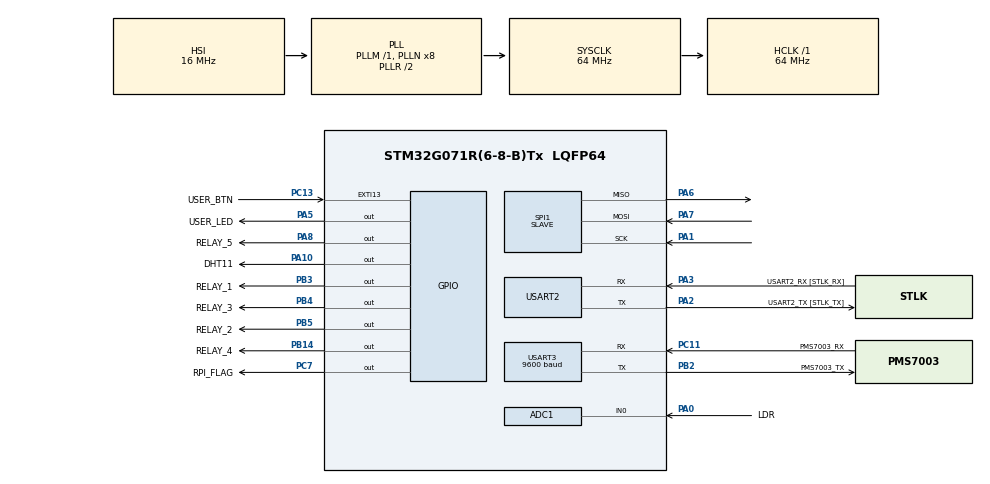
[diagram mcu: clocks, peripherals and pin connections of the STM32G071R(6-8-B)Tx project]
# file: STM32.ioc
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ADC1.Channel-1\#ChannelRegularConversion=ADC_CHANNEL_0
ADC1.ClockPrescaler=ADC_CLOCK_SYNC_PCLK_DIV2
ADC1.ContinuousConvMode=ENABLE
ADC1.DMAContinuousRequests=DISABLE
ADC1.NbrOfConversionFlag=1
ADC1.Rank-1\#ChannelRegularConversion=1
ADC1.SamplingTime-1\#ChannelRegularConversion=ADC_SAMPLINGTIME_COMMON_1
ADC1.SelectedChannel=ADC_CHANNEL_0
ADC1.master=1
Mcu.Family=STM32G0
Mcu.Name=STM32G071R(6-8-B)Tx
Mcu.Package=LQFP64
NVIC.ADC1_COMP_IRQn=true\:0\:0\:false\:false\:true\:true\:true\:true
NVIC.EXTI4_15_IRQn=true\:2\:0\:true\:false\:true\:true\:true\:true
NVIC.SPI1_IRQn=true\:0\:0\:true\:false\:true\:true\:true\:true
NVIC.USART2_IRQn=true\:0\:0\:true\:false\:true\:true\:true\:true
NVIC.USART3_4_LPUART1_IRQn=true\:0\:0\:false\:false\:true\:true\:true\:true
PA0.GPIO_Label=LDR
PA0.Mode=IN0
PA0.Signal=ADC1_IN0
PA1.Mode=Full_Duplex_Slave
PA1.Signal=SPI1_SCK
PA10.GPIO_Label=DHT11
PA10.Signal=GPIO_Output
PA13.GPIO_Label=TMS
PA13.Mode=Serial_Wire
PA13.Signal=SYS_SWDIO
PA14-BOOT0.GPIO_Label=TCK
PA14-BOOT0.Mode=Serial_Wire
PA14-BOOT0.Signal=SYS_SWCLK
PA2.GPIO_Label=USART2_TX [STLK_TX]
PA2.GPIO_PuPd=GPIO_PULLUP
PA2.Mode=Asynchronous
PA2.Signal=USART2_TX
PA3.GPIO_Label=USART2_RX [STLK_RX]
PA3.GPIO_PuPd=GPIO_PULLUP
PA3.Mode=Asynchronous
PA3.Signal=USART2_RX
PA5.GPIO_Label=USER_LED
PA5.GPIO_Speed=GPIO_SPEED_FREQ_HIGH
PA5.Signal=GPIO_Output
PA6.Mode=Full_Duplex_Slave
PA6.Signal=SPI1_MISO
PA7.Mode=Full_Duplex_Slave
PA7.Signal=SPI1_MOSI
PA8.GPIO_Label=RELAY_5
PA8.Signal=GPIO_Output
PB14.GPIO_Label=RELAY_4
PB14.Signal=GPIO_Output
PB2.GPIO_Label=PMS7003_TX
PB2.Mode=Asynchronous
PB2.Signal=USART3_TX
PB3.GPIO_Label=RELAY_1
PB3.Signal=GPIO_Output
PB4.GPIO_Label=RELAY_3
PB4.Signal=GPIO_Output
PB5.GPIO_Label=RELAY_2
PB5.Signal=GPIO_Output
PC11.GPIO_Label=PMS7003_RX
PC11.Mode=Asynchronous
PC11.Signal=USART3_RX
PC13.GPIO_Label=USER_BTN
PC13.GPIO_ModeDefaultEXTI=GPIO_MODE_IT_FALLING
PC13.GPIO_PuPd=GPIO_PULLUP
PC13.Signal=GPXTI13
PC14-OSC32_IN\ (PC14).Mode=LSE-External-Oscillator
PC14-OSC32_IN\ (PC14).Signal=RCC_OSC32_IN
PC15-OSC32_OUT\ (PC15).Mode=LSE-External-Oscillator
PC15-OSC32_OUT\ (PC15).Signal=RCC_OSC32_OUT
PC7.GPIO_Label=RPI_FLAG
PC7.Signal=GPIO_Output
PF0-OSC_IN\ (PF0).GPIO_Label=MCO
PF0-OSC_IN\ (PF0).Mode=HSE-External-Clock-Source
PF0-OSC_IN\ (PF0).Signal=RCC_OSC_IN
ProjectManager.HeapSize=0x200
ProjectManager.StackSize=0x400
ProjectManager.TargetToolchain=STM32CubeIDE
RCC.ADCFreq_Value=64000000
RCC.AHBFreq_Value=64000000
RCC.CortexFreq_Value=64000000
RCC.EXTERNAL_CLOCK_VALUE=12288000
RCC.HCLKFreq_Value=64000000
RCC.HSE_VALUE=8000000
RCC.HSI_VALUE=16000000
RCC.PLLP=RCC_PLLP_DIV4
RCC.PLLQ=RCC_PLLQ_DIV4
RCC.SYSCLKFreq_VALUE=64000000
RCC.SYSCLKSource=RCC_SYSCLKSOURCE_PLLCLK
RCC.VCOOutputFreq_Value=128000000
SPI1.CRCCalculation=SPI_CRCCALCULATION_DISABLE
SPI1.DataSize=SPI_DATASIZE_8BIT
SPI1.Direction=SPI_DIRECTION_2LINES
SPI1.FirstBit=SPI_FIRSTBIT_MSB
SPI1.Mode=SPI_MODE_SLAVE
SPI1.VirtualType=VM_SLAVE
TIM1.Prescaler=64-1
USART2.VirtualMode-Asynchronous=VM_ASYNC
USART3.BaudRate=9600
USART3.VirtualMode-Asynchronous=VM_ASYNC
VP_TIM1_VS_ClockSourceINT.Mode=Internal
board=NUCLEO-G071RB

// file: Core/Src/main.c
/* USER CODE BEGIN Header */
/**
  ******************************************************************************
  * @file           : main.c
  * @brief          : Main program body
  ******************************************************************************
  * @attention
  *
  * Copyright (c) 2024 STMicroelectronics.
  * All rights reserved.
  *
  * This software is licensed under terms that can be found in the LICENSE file
  * in the root directory of this software component.
  * If no LICENSE file comes with this software, it is provided AS-IS.
  *
  ******************************************************************************
  */
/* USER CODE END Header */
#include "main.h"

/* USER CODE BEGIN Includes */
#include <stdio.h>
#include <stdint.h>
#include <string.h>
#include <stdbool.h>

//#include "lux.h"
/* USER CODE END Includes */

ADC_HandleTypeDef hadc1;

SPI_HandleTypeDef hspi1;

TIM_HandleTypeDef htim1;

UART_HandleTypeDef huart2;
UART_HandleTypeDef huart3;

/* USER CODE BEGIN PV */
uint8_t rx_indx;
uint8_t rx_data[2];
uint8_t rx_buffer[100];
uint8_t rx_buffer_old[100];
uint8_t transfer_cplt;
uint8_t debug_message[100] = "none";

uint8_t spi_data[8];
uint8_t spi_response[8];
uint8_t spi_fail_count = 0;

uint8_t temperature;
uint8_t humidity;
uint8_t RHI, RHD, TCI, TCD, SUM;
uint32_t pMillis, cMillis;
uint32_t last_dht_run = 0;

uint8_t pms_buffer[33];
uint16_t pm1_0;
uint16_t pm2_5;
uint16_t pm10;
uint32_t last_pms_run = 0;

uint16_t ldr = 0;

char msg[50] ;

/* USER CODE END PV */

void SystemClock_Config(void);
static void MX_GPIO_Init(void);
static void MX_USART2_UART_Init(void);
static void MX_SPI1_Init(void);
static void MX_TIM1_Init(void);
static void MX_USART3_UART_Init(void);
static void MX_ADC1_Init(void);

/* USER CODE BEGIN 0 */
void send_uart_message(char *messsage){
    HAL_UART_Transmit(&huart2, (uint8_t*)messsage, strlen(messsage), HAL_MAX_DELAY);
}

void microDelay(uint16_t delay) {
	__HAL_TIM_SET_COUNTER(&htim1, 0);
	while (__HAL_TIM_GET_COUNTER(&htim1) < delay);
}

uint8_t DHT11_Start() {
	uint8_t Response = 0;

	GPIO_InitTypeDef GPIO_InitStructPrivate = {0};
	GPIO_InitStructPrivate.Pin = DHT11_Pin;
	GPIO_InitStructPrivate.Mode = GPIO_MODE_OUTPUT_PP;
	GPIO_InitStructPrivate.Speed = GPIO_SPEED_FREQ_LOW;
	GPIO_InitStructPrivate.Pull = GPIO_NOPULL;
	HAL_GPIO_Init(DHT11_GPIO_Port, &GPIO_InitStructPrivate);

	HAL_GPIO_WritePin(DHT11_GPIO_Port, DHT11_Pin, 0);
	microDelay(20000);
	HAL_GPIO_WritePin(DHT11_GPIO_Port, DHT11_Pin, 1);
	microDelay(20);

	GPIO_InitStructPrivate.Mode = GPIO_MODE_INPUT;
	GPIO_InitStructPrivate.Pull = GPIO_PULLUP;
	HAL_GPIO_Init(DHT11_GPIO_Port, &GPIO_InitStructPrivate);

	microDelay(40);
	if (!(HAL_GPIO_ReadPin(DHT11_GPIO_Port, DHT11_Pin))) {
		microDelay(80);
		if (HAL_GPIO_ReadPin(DHT11_GPIO_Port, DHT11_Pin)) Response = 1;
	}

	pMillis = HAL_GetTick();
	cMillis = HAL_GetTick();

	while (HAL_GPIO_ReadPin(DHT11_GPIO_Port, DHT11_Pin) && pMillis + 2 > cMillis) {
		cMillis = HAL_GetTick();
	}

	return Response;
}

uint8_t DHT11_Read() {
	uint8_t a, b;
	for (a = 0; a < 8; a++) {
		pMillis = HAL_GetTick();
		cMillis = HAL_GetTick();

		while (!(HAL_GPIO_ReadPin(DHT11_GPIO_Port, DHT11_Pin)) && pMillis + 2 > cMillis) {
			cMillis = HAL_GetTick();
		}

		microDelay(40);

		if (!(HAL_GPIO_ReadPin(DHT11_GPIO_Port, DHT11_Pin))) {
			b &= ~(1 << (7 - a));
		} else {
			b |= (1 << (7 - a));
		}

		pMillis = HAL_GetTick();
		cMillis = HAL_GetTick();

		while (HAL_GPIO_ReadPin(DHT11_GPIO_Port, DHT11_Pin) && pMillis + 2 > cMillis) {
			cMillis = HAL_GetTick();
		}
	}

	return b;
}

void Read_PMS7003(uint16_t* p1_0, uint16_t* p2_5, uint16_t* p10) {
    // Extract PM values from buffer
	uint16_t pm1_0 = (pms_buffer[4] << 8) | pms_buffer[5];
    uint16_t pm2_5 = (pms_buffer[6] << 8) | pms_buffer[7];
    uint16_t pm10 = (pms_buffer[8] << 8) | pms_buffer[9];

    *p1_0 = pm1_0;
    *p2_5 = pm2_5;
    *p10 = pm10;

    return;
}
/* USER CODE END 0 */

int main(void)
{

  /* MCU Configuration--------------------------------------------------------*/

  /* Reset of all peripherals, Initializes the Flash interface and the Systick. */
  HAL_Init();

  /* Configure the system clock */
  SystemClock_Config();

  /* Initialize all configured peripherals */
  MX_GPIO_Init();
  MX_USART2_UART_Init();
  MX_SPI1_Init();
  MX_TIM1_Init();
  MX_USART3_UART_Init();
  MX_ADC1_Init();
  /* USER CODE BEGIN 2 */
  HAL_UART_Receive_IT(&huart2, rx_data, 1);
  HAL_SPI_Receive_IT(&hspi1, spi_data, 8);
  HAL_UART_Receive_IT(&huart3, pms_buffer, 32);
  HAL_TIM_Base_Start(&htim1);

  HAL_ADCEx_Calibration_Start(&hadc1);
  HAL_ADC_Start(&hadc1);

//  HAL_ADC_Start_DMA(&hadc1, &raw_ldr, 1);

  HAL_UART_Transmit(&huart2, (uint8_t *)"Start\r\n", 7, 1000);
  HAL_GPIO_WritePin(RPI_FLAG_GPIO_Port, RPI_FLAG_Pin, 1);
  HAL_GPIO_WritePin(DHT11_POWER_GPIO_Port, DHT11_POWER_Pin, 0);
  /* USER CODE END 2 */

  /* Infinite loop */
  while (1)
  {

    /* USER CODE BEGIN 3 */
	  uint32_t now = HAL_GetTick();

	  if (now - last_dht_run > 2000) {
		  HAL_GPIO_WritePin(DHT11_POWER_GPIO_Port, DHT11_POWER_Pin, 1);
		  HAL_Delay(1);

		  if (DHT11_Start()) {
			  last_dht_run = now;

			  HAL_UART_Receive_IT(&huart3, pms_buffer, 32);

			  RHI = DHT11_Read();
			  RHD = DHT11_Read();
			  TCI = DHT11_Read();
			  TCD = DHT11_Read();
			  SUM = DHT11_Read();

			  if (RHI + RHD + TCI + TCD == SUM) {
				  uint8_t nTemperature = (TCI * 10) + TCD;
				  uint8_t nHumidity = (RHI * 10) + RHD;

				  temperature = nTemperature;
				  humidity = nHumidity;

				  uint8_t message[64];
				  int message_length = sprintf(message, "Temp:  %d c\r\nHumid: %d %%\r\n\r\n", (int)temperature, (int)humidity);
				  HAL_UART_Transmit(&huart2, message, message_length, 100);

				  HAL_GPIO_WritePin(DHT11_POWER_GPIO_Port, DHT11_POWER_Pin, 0);
			  }
		  }
	  }

	  // https://controllerstech.com/using-dht11-sensor-with-stm32/

  }
  /* USER CODE END 3 */
}

void SystemClock_Config(void)
{
  RCC_OscInitTypeDef RCC_OscInitStruct = {0};
  RCC_ClkInitTypeDef RCC_ClkInitStruct = {0};

  /** Configure the main internal regulator output voltage
  */
  HAL_PWREx_ControlVoltageScaling(PWR_REGULATOR_VOLTAGE_SCALE1);

  /** Initializes the RCC Oscillators according to the specified parameters
  * in the RCC_OscInitTypeDef structure.
  */
  RCC_OscInitStruct.OscillatorType = RCC_OSCILLATORTYPE_HSI;
  RCC_OscInitStruct.HSIState = RCC_HSI_ON;
  RCC_OscInitStruct.HSIDiv = RCC_HSI_DIV1;
  RCC_OscInitStruct.HSICalibrationValue = RCC_HSICALIBRATION_DEFAULT;
  RCC_OscInitStruct.PLL.PLLState = RCC_PLL_ON;
  RCC_OscInitStruct.PLL.PLLSource = RCC_PLLSOURCE_HSI;
  RCC_OscInitStruct.PLL.PLLM = RCC_PLLM_DIV1;
  RCC_OscInitStruct.PLL.PLLN = 8;
  RCC_OscInitStruct.PLL.PLLP = RCC_PLLP_DIV4;
  RCC_OscInitStruct.PLL.PLLQ = RCC_PLLQ_DIV4;
  RCC_OscInitStruct.PLL.PLLR = RCC_PLLR_DIV2;
  if (HAL_RCC_OscConfig(&RCC_OscInitStruct) != HAL_OK)
  {
    Error_Handler();
  }

  /** Initializes the CPU, AHB and APB buses clocks
  */
  RCC_ClkInitStruct.ClockType = RCC_CLOCKTYPE_HCLK|RCC_CLOCKTYPE_SYSCLK
                              |RCC_CLOCKTYPE_PCLK1;
  RCC_ClkInitStruct.SYSCLKSource = RCC_SYSCLKSOURCE_PLLCLK;
  RCC_ClkInitStruct.AHBCLKDivider = RCC_SYSCLK_DIV1;
  RCC_ClkInitStruct.APB1CLKDivider = RCC_HCLK_DIV1;

  if (HAL_RCC_ClockConfig(&RCC_ClkInitStruct, FLASH_LATENCY_2) != HAL_OK)
  {
    Error_Handler();
  }
}

static void MX_ADC1_Init(void)
{

  ADC_ChannelConfTypeDef sConfig = {0};

  /** Configure the global features of the ADC (Clock, Resolution, Data Alignment and number of conversion)
  */
  hadc1.Instance = ADC1;
  hadc1.Init.ClockPrescaler = ADC_CLOCK_SYNC_PCLK_DIV2;
  hadc1.Init.Resolution = ADC_RESOLUTION_12B;
  hadc1.Init.DataAlign = ADC_DATAALIGN_RIGHT;
  hadc1.Init.ScanConvMode = ADC_SCAN_DISABLE;
  hadc1.Init.EOCSelection = ADC_EOC_SINGLE_CONV;
  hadc1.Init.LowPowerAutoWait = DISABLE;
  hadc1.Init.LowPowerAutoPowerOff = DISABLE;
  hadc1.Init.ContinuousConvMode = ENABLE;
  hadc1.Init.NbrOfConversion = 1;
  hadc1.Init.ExternalTrigConv = ADC_SOFTWARE_START;
  hadc1.Init.ExternalTrigConvEdge = ADC_EXTERNALTRIGCONVEDGE_NONE;
  hadc1.Init.DMAContinuousRequests = DISABLE;
  hadc1.Init.Overrun = ADC_OVR_DATA_PRESERVED;
  hadc1.Init.SamplingTimeCommon1 = ADC_SAMPLETIME_1CYCLE_5;
  hadc1.Init.SamplingTimeCommon2 = ADC_SAMPLETIME_1CYCLE_5;
  hadc1.Init.OversamplingMode = DISABLE;
  hadc1.Init.TriggerFrequencyMode = ADC_TRIGGER_FREQ_HIGH;
  if (HAL_ADC_Init(&hadc1) != HAL_OK)
  {
    Error_Handler();
  }

  /** Configure Regular Channel
  */
  sConfig.Channel = ADC_CHANNEL_0;
  sConfig.Rank = ADC_REGULAR_RANK_1;
  sConfig.SamplingTime = ADC_SAMPLINGTIME_COMMON_1;
  if (HAL_ADC_ConfigChannel(&hadc1, &sConfig) != HAL_OK)
  {
    Error_Handler();
  }

}

static void MX_SPI1_Init(void)
{

  /* SPI1 parameter configuration*/
  hspi1.Instance = SPI1;
  hspi1.Init.Mode = SPI_MODE_SLAVE;
  hspi1.Init.Direction = SPI_DIRECTION_2LINES;
  hspi1.Init.DataSize = SPI_DATASIZE_8BIT;
  hspi1.Init.CLKPolarity = SPI_POLARITY_LOW;
  hspi1.Init.CLKPhase = SPI_PHASE_1EDGE;
  hspi1.Init.NSS = SPI_NSS_SOFT;
  hspi1.Init.FirstBit = SPI_FIRSTBIT_MSB;
  hspi1.Init.TIMode = SPI_TIMODE_DISABLE;
  hspi1.Init.CRCCalculation = SPI_CRCCALCULATION_DISABLE;
  hspi1.Init.CRCPolynomial = 7;
  hspi1.Init.CRCLength = SPI_CRC_LENGTH_DATASIZE;
  hspi1.Init.NSSPMode = SPI_NSS_PULSE_DISABLE;
  if (HAL_SPI_Init(&hspi1) != HAL_OK)
  {
    Error_Handler();
  }

}

static void MX_TIM1_Init(void)
{

  TIM_ClockConfigTypeDef sClockSourceConfig = {0};
  TIM_MasterConfigTypeDef sMasterConfig = {0};

  htim1.Instance = TIM1;
  htim1.Init.Prescaler = 64-1;
  htim1.Init.CounterMode = TIM_COUNTERMODE_UP;
  htim1.Init.Period = 65535;
  htim1.Init.ClockDivision = TIM_CLOCKDIVISION_DIV1;
  htim1.Init.RepetitionCounter = 0;
  htim1.Init.AutoReloadPreload = TIM_AUTORELOAD_PRELOAD_DISABLE;
  if (HAL_TIM_Base_Init(&htim1) != HAL_OK)
  {
    Error_Handler();
  }
  sClockSourceConfig.ClockSource = TIM_CLOCKSOURCE_INTERNAL;
  if (HAL_TIM_ConfigClockSource(&htim1, &sClockSourceConfig) != HAL_OK)
  {
    Error_Handler();
  }
  sMasterConfig.MasterOutputTrigger = TIM_TRGO_RESET;
  sMasterConfig.MasterOutputTrigger2 = TIM_TRGO2_RESET;
  sMasterConfig.MasterSlaveMode = TIM_MASTERSLAVEMODE_DISABLE;
  if (HAL_TIMEx_MasterConfigSynchronization(&htim1, &sMasterConfig) != HAL_OK)
  {
    Error_Handler();
  }

}

static void MX_USART2_UART_Init(void)
{

  huart2.Instance = USART2;
  huart2.Init.BaudRate = 115200;
  huart2.Init.WordLength = UART_WORDLENGTH_8B;
  huart2.Init.StopBits = UART_STOPBITS_1;
  huart2.Init.Parity = UART_PARITY_NONE;
  huart2.Init.Mode = UART_MODE_TX_RX;
  huart2.Init.HwFlowCtl = UART_HWCONTROL_NONE;
  huart2.Init.OverSampling = UART_OVERSAMPLING_16;
  huart2.Init.OneBitSampling = UART_ONE_BIT_SAMPLE_DISABLE;
  huart2.Init.ClockPrescaler = UART_PRESCALER_DIV1;
  huart2.AdvancedInit.AdvFeatureInit = UART_ADVFEATURE_NO_INIT;
  if (HAL_UART_Init(&huart2) != HAL_OK)
  {
    Error_Handler();
  }
  if (HAL_UARTEx_SetTxFifoThreshold(&huart2, UART_TXFIFO_THRESHOLD_1_8) != HAL_OK)
  {
    Error_Handler();
  }
  if (HAL_UARTEx_SetRxFifoThreshold(&huart2, UART_RXFIFO_THRESHOLD_1_8) != HAL_OK)
  {
    Error_Handler();
  }
  if (HAL_UARTEx_DisableFifoMode(&huart2) != HAL_OK)
  {
    Error_Handler();
  }

}

static void MX_USART3_UART_Init(void)
{

  huart3.Instance = USART3;
  huart3.Init.BaudRate = 9600;
  huart3.Init.WordLength = UART_WORDLENGTH_8B;
  huart3.Init.StopBits = UART_STOPBITS_1;
  huart3.Init.Parity = UART_PARITY_NONE;
  huart3.Init.Mode = UART_MODE_TX_RX;
  huart3.Init.HwFlowCtl = UART_HWCONTROL_NONE;
  huart3.Init.OverSampling = UART_OVERSAMPLING_16;
  huart3.Init.OneBitSampling = UART_ONE_BIT_SAMPLE_DISABLE;
  huart3.Init.ClockPrescaler = UART_PRESCALER_DIV1;
  huart3.AdvancedInit.AdvFeatureInit = UART_ADVFEATURE_NO_INIT;
  if (HAL_UART_Init(&huart3) != HAL_OK)
  {
    Error_Handler();
  }

}

static void MX_GPIO_Init(void)
{
  GPIO_InitTypeDef GPIO_InitStruct = {0};

  /* GPIO Ports Clock Enable */
  __HAL_RCC_GPIOC_CLK_ENABLE();
  __HAL_RCC_GPIOF_CLK_ENABLE();
  __HAL_RCC_GPIOA_CLK_ENABLE();
  __HAL_RCC_GPIOB_CLK_ENABLE();

  /*Configure GPIO pin Output Level */
  HAL_GPIO_WritePin(GPIOA, USER_LED_Pin|RELAY_5_Pin|DHT11_Pin, GPIO_PIN_RESET);

  /*Configure GPIO pin Output Level */
  HAL_GPIO_WritePin(GPIOB, RELAY_4_Pin|RELAY_1_Pin|RELAY_3_Pin|RELAY_2_Pin, GPIO_PIN_RESET);

  /*Configure GPIO pin Output Level */
  HAL_GPIO_WritePin(RPI_FLAG_GPIO_Port, RPI_FLAG_Pin, GPIO_PIN_RESET);

  /*Configure GPIO pin : USER_BTN_Pin */
  GPIO_InitStruct.Pin = USER_BTN_Pin;
  GPIO_InitStruct.Mode = GPIO_MODE_IT_FALLING;
  GPIO_InitStruct.Pull = GPIO_PULLUP;
  HAL_GPIO_Init(USER_BTN_GPIO_Port, &GPIO_InitStruct);

  /*Configure GPIO pin : USER_LED_Pin */
  GPIO_InitStruct.Pin = USER_LED_Pin;
  GPIO_InitStruct.Mode = GPIO_MODE_OUTPUT_PP;
  GPIO_InitStruct.Pull = GPIO_NOPULL;
  GPIO_InitStruct.Speed = GPIO_SPEED_FREQ_HIGH;
  HAL_GPIO_Init(USER_LED_GPIO_Port, &GPIO_InitStruct);

  /*Configure GPIO pins : RELAY_4_Pin RELAY_1_Pin RELAY_3_Pin RELAY_2_Pin */
  GPIO_InitStruct.Pin = RELAY_4_Pin|RELAY_1_Pin|RELAY_3_Pin|RELAY_2_Pin;
  GPIO_InitStruct.Mode = GPIO_MODE_OUTPUT_PP;
  GPIO_InitStruct.Pull = GPIO_NOPULL;
  GPIO_InitStruct.Speed = GPIO_SPEED_FREQ_LOW;
  HAL_GPIO_Init(GPIOB, &GPIO_InitStruct);

  /*Configure GPIO pins : RELAY_5_Pin DHT11_Pin */
  GPIO_InitStruct.Pin = RELAY_5_Pin|DHT11_Pin;
  GPIO_InitStruct.Mode = GPIO_MODE_OUTPUT_PP;
  GPIO_InitStruct.Pull = GPIO_NOPULL;
  GPIO_InitStruct.Speed = GPIO_SPEED_FREQ_LOW;
  HAL_GPIO_Init(GPIOA, &GPIO_InitStruct);

  /*Configure GPIO pin : RPI_FLAG_Pin */
  GPIO_InitStruct.Pin = RPI_FLAG_Pin;
  GPIO_InitStruct.Mode = GPIO_MODE_OUTPUT_PP;
  GPIO_InitStruct.Pull = GPIO_NOPULL;
  GPIO_InitStruct.Speed = GPIO_SPEED_FREQ_LOW;
  HAL_GPIO_Init(RPI_FLAG_GPIO_Port, &GPIO_InitStruct);

  /* EXTI interrupt init*/
  HAL_NVIC_SetPriority(EXTI4_15_IRQn, 2, 0);
  HAL_NVIC_EnableIRQ(EXTI4_15_IRQn);

}

/* USER CODE BEGIN 4 */
void HAL_GPIO_EXTI_Falling_Callback(uint16_t GPIO_Pin) {
	uint32_t now = HAL_GetTick();
}

void process_uart() {
	strncpy(rx_buffer_old, rx_buffer, 100);
	HAL_UART_Transmit(&huart2, "\r\n", 2, 100);

	if (!strcmp(rx_buffer, (uint8_t *)"?")) {
		const char message[] = "led on, led off, error, spi, clear, ?";
		HAL_UART_Transmit(&huart2, (uint8_t *)message, (int)strlen(message), 1000);
	}

	if (!strcmp(rx_buffer, (uint8_t *)"led on")) {
		HAL_GPIO_WritePin(USER_LED_GPIO_Port, USER_LED_Pin, 1);
		HAL_UART_Transmit(&huart2, (uint8_t *)"1", 1, 100);
	}

	if (!strcmp(rx_buffer, (uint8_t *)"led off")) {
		HAL_GPIO_WritePin(USER_LED_GPIO_Port, USER_LED_Pin, 0);
		HAL_UART_Transmit(&huart2, (uint8_t *)"1", 1, 100);
	}

	if (!strcmp(rx_buffer, (uint8_t *)"error")) {
		HAL_UART_Transmit(&huart2, debug_message, strlen(debug_message), 1000);
		strncpy(debug_message, (uint8_t *)"none", 100);
	}

	if (!strcmp(rx_buffer, (uint8_t *)"spi")) {
		uint8_t message[64];
		int message_length = sprintf(message, "0x%x, 0x%x, 0x%x, 0x%x, 0x%x, 0x%x, 0x%x, 0x%x", (int)spi_data[0], (int)spi_data[1], (int)spi_data[2], (int)spi_data[3], (int)spi_data[4], (int)spi_data[5], (int)spi_data[6], (int)spi_data[7]);
		HAL_UART_Transmit(&huart2, message, message_length, 1000);
	}

	if (!strcmp(rx_buffer, (uint8_t *)"pms")) {
		Read_PMS7003(&pm1_0, &pm2_5, &pm10);

		uint8_t message[64];
		int message_length = sprintf(message, "PM2.5:  %d ppm\r\PM10:  %d ppm\r\n\r\n", (int)pm2_5, (int)pm10);
		HAL_UART_Transmit(&huart2, message, message_length, 100);
	}

	if (!strcmp(rx_buffer, "clear")) {
		HAL_UART_Transmit(&huart2, (uint8_t *)"\033[2J\033[0;0H", (int)strlen("\033[2J\033[0;0H"), 100);
	}

	HAL_UART_Transmit(&huart2, (uint8_t *)"\r\n", 2, 100);
}

void HAL_UART_RxCpltCallback(UART_HandleTypeDef *huart) {
	UNUSED(huart);

	if (huart->Instance == USART3) {
		if (pms_buffer[0] == 0x42) {
			Read_PMS7003(&pm1_0, &pm2_5, &pm10);
		}

		HAL_UART_Receive_IT(&huart3, pms_buffer, 32);
		uint8_t message[64];
		int message_length = sprintf(message, "PM1.0: %d ug/m2\r\nPM2.5: %d ug/m2\r\nPM10:  %d ug/m2\r\n\r\n", (int)pm1_0, (int)pm2_5, (int)pm10);
		HAL_UART_Transmit(&huart2, message, message_length, 100);
	}

	if (huart->Instance == USART2) {
		uint8_t i;
		if (rx_indx == 0) {
			for (i = 0; i < 100; i++) {
				rx_buffer[i] = 0;
			}
		}
		if (rx_data[0] == 8) {
			if (rx_indx > 0) {
				rx_buffer[--rx_indx] = 0;
			}
		} else if (rx_data[0] == 13 && rx_indx == 0) {
			strncpy(rx_buffer, rx_buffer_old, 100);
			process_uart();
		} else if (rx_data[0] != 13) {
			rx_buffer[rx_indx++] = rx_data[0];
		} else {
			rx_indx = 0;
			transfer_cplt = 1;
			process_uart();
		}

		HAL_UART_Receive_IT(&huart2, rx_data, 1);
		HAL_UART_Transmit(&huart2, rx_data, strlen(rx_data), 100);
	}
}

uint16_t crc16_modbus(uint8_t *data, uint16_t length) {
    uint16_t crc = 0xFFFF;

    for (uint16_t i = 0; i < length; i++) {
        crc ^= data[i];  // XOR byte into least sig. byte of crc

        for (uint8_t j = 0; j < 8; j++) {
            if (crc & 0x0001) {  // If LSB is set
                crc = (crc >> 1) ^ 0xA001;  // Shift right and XOR with polynomial
            } else {
                crc >>= 1;  // Just shift right
            }
        }
    }

    return crc;  // Return the CRC16 result
}

int validate_crc16_modbus(uint8_t *data, uint16_t length) {
    if (length != 8) {
        return 0;  // Only works for 8-byte packets (6 bytes data + 2 bytes CRC)
    }

    // Last two bytes in the data array are the received CRC (MSB first)
    uint16_t received_crc = (data[length - 2] << 8) | data[length - 1];  // Combine MSB and LSB

    // Calculate the CRC on the first 6 bytes of data
    uint16_t calculated_crc = crc16_modbus(data, length - 2);

    // Compare calculated CRC with received CRC
    return (calculated_crc == received_crc);
}

void spi_transmit(SPI_HandleTypeDef *hspi) {
    uint16_t crc = crc16_modbus(spi_response, 6);  // Calculate CRC for the first 6 bytes
    spi_response[6] = (crc >> 8) & 0xFF;  // CRC MSB
    spi_response[7] = crc & 0xFF;         // CRC LSB

    HAL_SPI_Transmit(hspi, spi_response, 8, 100);
}

void HAL_SPI_RxCpltCallback(SPI_HandleTypeDef *hspi) {
	if (hspi == &hspi1) {
		uint8_t message[64];
		int message_length = sprintf(message, "0x%x, 0x%x, 0x%x, 0x%x, 0x%x, 0x%x, 0x%x, 0x%x\n", (int)spi_data[0], (int)spi_data[1], (int)spi_data[2], (int)spi_data[3], (int)spi_data[4], (int)spi_data[5], (int)spi_data[6], (int)spi_data[7]);
		HAL_UART_Transmit(&huart2, message, message_length, 100);

		int checksum = validate_crc16_modbus(spi_data, 8);
		if (!checksum) {
			strncpy(debug_message, "SPI CRC Error", 100);
			spi_fail_count += 1;

			if (spi_fail_count >= 5) {
				HAL_NVIC_SystemReset();
			}
		}

		spi_fail_count = 0;

		spi_response[0] = 0;
		spi_response[1] = 0;
		spi_response[2] = 0;
		spi_response[3] = 0;
		spi_response[4] = 0;
		spi_response[5] = 0;

		if (spi_data[0] == 1 &&
			spi_data[1] == 1 &&
			spi_data[2] == 1) {

			HAL_GPIO_WritePin(USER_LED_GPIO_Port, USER_LED_Pin, 1);
			spi_transmit(&hspi1);
			HAL_Delay(100);
			HAL_NVIC_SystemReset();
		}

		if (spi_data[0] == 1 &&
			spi_data[1] == 1) {
			HAL_GPIO_WritePin(RELAY_5_GPIO_Port, RELAY_5_Pin, (spi_data[5] & (1<<4)) >> 4);
			HAL_GPIO_WritePin(RELAY_4_GPIO_Port, RELAY_4_Pin, (spi_data[5] & (1<<3)) >> 3);
			HAL_GPIO_WritePin(RELAY_3_GPIO_Port, RELAY_3_Pin, (spi_data[5] & (1<<2)) >> 2);
			HAL_GPIO_WritePin(RELAY_2_GPIO_Port, RELAY_2_Pin, (spi_data[5] & (1<<1)) >> 1);
			HAL_GPIO_WritePin(RELAY_1_GPIO_Port, RELAY_1_Pin, (spi_data[5] & (1<<0)) >> 0);

			spi_response[1] = 1;
			spi_response[5] = spi_data[5];
		}

		if (spi_data[0] == 2 &&
			spi_data[1] == 1) {

			spi_response[4] = temperature;
			spi_response[5] = humidity;
		}

		if (spi_data[0] == 3) {
			if (spi_data[1] == 1) {
				spi_response[4] = pm1_0 & 0xff;
				spi_response[5] = pm1_0 >> 8;
			}

			if (spi_data[1] == 2) {
				spi_response[4] = pm2_5 & 0xff;
				spi_response[5] = pm2_5 >> 8;
			}

			if (spi_data[1] == 3) {
				spi_response[4] = pm10 & 0xff;
				spi_response[5] = pm10 >> 8;
			}
		}

		if (spi_data[0] == 4 &&
			spi_data[1] == 1) {
			ldr = HAL_ADC_GetValue(&hadc1);

			float Vout = (float)ldr * (3.3 / (float)4096);
			float RLDR = (10000 * (3.3 - Vout)) / Vout;
			uint16_t lux = 500 / (RLDR / 1000);

			spi_response[4] = lux & 0xff;
			spi_response[5] = lux >> 8;
		}

		spi_transmit(&hspi1);

		HAL_SPI_Receive_IT(&hspi1, spi_data, 8);
	}
}
/* USER CODE END 4 */

void Error_Handler(void)
{
  __disable_irq();
  while (1)
  {
  }
}
